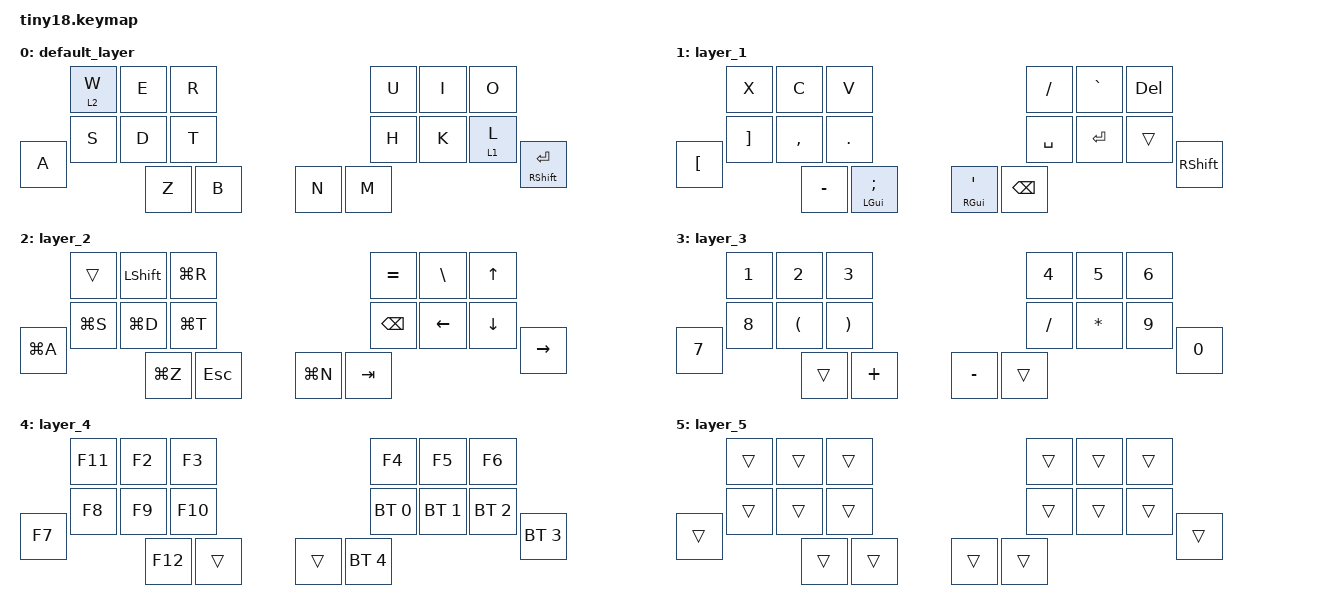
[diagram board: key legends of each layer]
#include <input/processors.dtsi>
#include <dt-bindings/zmk/input_transform.h>
#include <zephyr/dt-bindings/input/input-event-codes.h>
#include <behaviors.dtsi>
#include <dt-bindings/zmk/bt.h>
#include <dt-bindings/zmk/keys.h>

/ {
    combos {
        compatible = "zmk,combos";

        q {
            bindings = <&kp Q>;
            key-positions = <1 0>;
        };

        f {
            bindings = <&kp F>;
            key-positions = <1 2>;
        };

        y {
            bindings = <&kp Y>;
            key-positions = <3 4>;
        };

        p {
            bindings = <&kp P>;
            key-positions = <4 5>;
        };

        g {
            bindings = <&kp G>;
            key-positions = <8 9>;
        };

        j {
            bindings = <&kp J>;
            key-positions = <10 11>;
        };

        lang1 {
            bindings = <&mt LEFT_GUI LANGUAGE_1>;
            key-positions = <7 8>;
        };

        lang2 {
            bindings = <&mt RIGHT_GUI LANGUAGE_2>;
            key-positions = <11 12>;
        };

        lsft {
            bindings = <&kp LSHFT>;
            key-positions = <6 7>;
        };

        lgui {
            bindings = <&kp LCTRL>;
            key-positions = <14 15>;
        };

        lalt {
            bindings = <&kp LEFT_ALT>;
            key-positions = <16 17>;
        };

        layer3 {
            bindings = <&lt 3 EQUAL>;
            key-positions = <14 17>;
        };

        layer4 {
            bindings = <&mo 4>;
            key-positions = <15 16>;
        };
    };

    keymap {
        compatible = "zmk,keymap";

        default_layer {
            bindings = <
&lt 2 W  &kp E  &kp R  &kp U  &kp I  &kp O  &kp A  &kp S  &kp D  &kp T  &kp H  &kp K  &lt 1 L  &mt RIGHT_SHIFT ENTER  &kp Z  &kp B  &kp N  &kp M
            >;
        };

        layer_1 {
            bindings = <
&kp X  &kp C  &kp V  &kp SLASH  &kp GRAVE  &kp DELETE  &kp LEFT_BRACKET  &kp RIGHT_BRACKET  &kp COMMA  &kp PERIOD  &kp SPACE  &kp ENTER  &trans  &kp RIGHT_SHIFT  &kp MINUS  &mt LEFT_GUI SEMICOLON  &mt RIGHT_GUI SQT  &kp BACKSPACE
            >;
        };

        layer_2 {
            bindings = <
&trans  &kp LEFT_SHIFT  &kp LG(R)  &kp EQUAL  &kp BACKSLASH  &kp UP_ARROW  &kp LG(A)  &kp LG(S)  &kp LG(D)  &kp LG(T)  &kp BACKSPACE  &kp LEFT  &kp DOWN_ARROW  &kp RIGHT_ARROW  &kp LG(Z)  &kp ESCAPE  &kp LG(N)  &kp TAB
            >;
        };

        layer_3 {
            bindings = <
&kp NUMBER_1  &kp NUMBER_2  &kp NUMBER_3  &kp NUMBER_4  &kp N5  &kp NUMBER_6  &kp N7  &kp N8  &kp LEFT_PARENTHESIS  &kp RIGHT_PARENTHESIS  &kp SLASH  &kp ASTERISK  &kp N9  &kp N0  &trans  &kp PLUS  &kp MINUS  &trans
            >;
        };

        layer_4 {
            bindings = <
&kp F11  &kp F2  &kp F3  &kp F4  &kp F5  &kp F6  &kp F7  &kp F8  &kp F9  &kp F10  &bt BT_SEL 0  &bt BT_SEL 1  &bt BT_SEL 2  &bt BT_SEL 3  &kp F12  &trans  &trans  &bt BT_SEL 4
            >;
        };

        layer_5 {
            bindings = <
&trans  &trans  &trans  &trans  &trans  &trans  &trans  &trans  &trans  &trans  &trans  &trans  &trans  &trans  &trans  &trans  &trans  &trans
            >;
        };
    };
};
